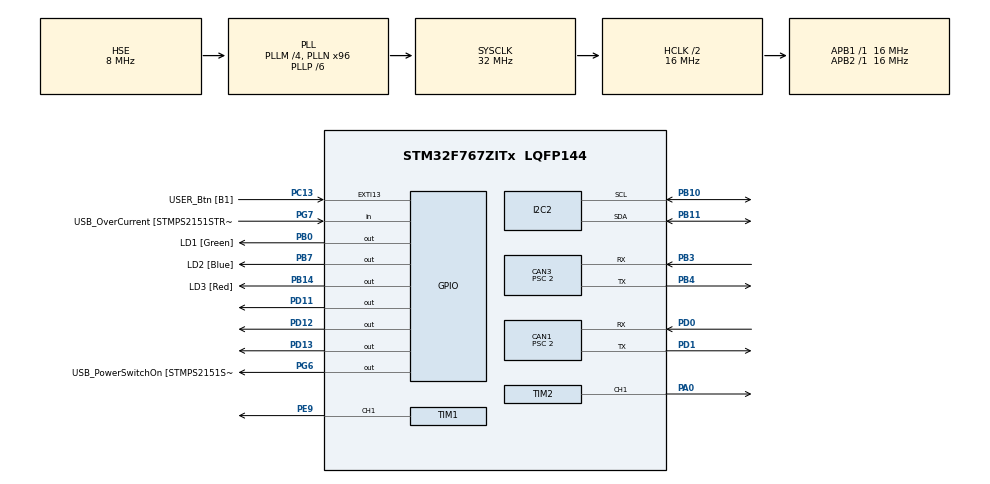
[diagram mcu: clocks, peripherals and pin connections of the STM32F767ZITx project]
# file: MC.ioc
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CAN1.BS1=CAN_BS1_13TQ
CAN1.BS2=CAN_BS2_2TQ
CAN1.CalculateBaudRate=500000
CAN1.CalculateTimeBit=2000
CAN1.CalculateTimeQuantum=125.0
CAN1.Prescaler=2
CAN3.BS1=CAN_BS1_13TQ
CAN3.BS2=CAN_BS2_2TQ
CAN3.CalculateBaudRate=500000
CAN3.CalculateTimeBit=2000
CAN3.CalculateTimeQuantum=125.0
CAN3.Prescaler=2
FREERTOS.Mutexes01=CommandMutex,Static,myMutex01ControlBlock
FREERTOS.Tasks01=defaultTask,24,128,StartDefaultTask,Default,NULL,Dynamic,NULL,NULL
Mcu.Family=STM32F7
Mcu.Name=STM32F767ZITx
Mcu.Package=LQFP144
NVIC.CAN1_RX0_IRQn=true\:5\:0\:false\:false\:true\:true\:true\:true\:true
NVIC.PriorityGroup=NVIC_PRIORITYGROUP_4
NVIC.TIM3_IRQn=true\:15\:0\:false\:false\:true\:false\:false\:true\:true
NVIC.TimeBase=TIM3_IRQn
NVIC.TimeBaseIP=TIM3
PA0/WKUP.Signal=S_TIM2_CH1_ETR
PA1.GPIO_Label=RMII_REF_CLK [LAN8742A-CZ-TR_REFCLK0]
PA1.Signal=ETH_REF_CLK
PA10.GPIO_Label=USB_ID
PA10.Signal=USB_OTG_FS_ID
PA11.GPIO_Label=USB_DM
PA11.Signal=USB_OTG_FS_DM
PA12.GPIO_Label=USB_DP
PA12.Signal=USB_OTG_FS_DP
PA13.GPIO_Label=TMS
PA13.Mode=Serial_Wire
PA13.Signal=SYS_JTMS-SWDIO
PA14.GPIO_Label=TCK
PA14.Mode=Serial_Wire
PA14.Signal=SYS_JTCK-SWCLK
PA2.GPIO_Label=RMII_MDIO [LAN8742A-CZ-TR_MDIO]
PA2.Signal=ETH_MDIO
PA7.GPIO_Label=RMII_CRS_DV [LAN8742A-CZ-TR_CRS_DV]
PA7.Signal=ETH_CRS_DV
PA8.GPIO_Label=USB_SOF [TP1]
PA8.Signal=USB_OTG_FS_SOF
PA9.GPIO_Label=USB_VBUS
PA9.Signal=USB_OTG_FS_VBUS
PB0.GPIO_Label=LD1 [Green]
PB0.Signal=GPIO_Output
PB10.Mode=I2C
PB10.Signal=I2C2_SCL
PB11.Mode=I2C
PB11.Signal=I2C2_SDA
PB13.GPIO_Label=RMII_TXD1 [LAN8742A-CZ-TR_TXD1]
PB13.Signal=ETH_TXD1
PB14.GPIO_Label=LD3 [Red]
PB14.Signal=GPIO_Output
PB3.Mode=CAN_Activate
PB3.Signal=CAN3_RX
PB4.Mode=CAN_Activate
PB4.Signal=CAN3_TX
PB7.GPIO_Label=LD2 [Blue]
PB7.Signal=GPIO_Output
PC1.GPIO_Label=RMII_MDC [LAN8742A-CZ-TR_MDC]
PC1.Signal=ETH_MDC
PC13.GPIO_Label=USER_Btn [B1]
PC13.Signal=GPXTI13
PC14/OSC32_IN.Mode=LSE-External-Oscillator
PC14/OSC32_IN.Signal=RCC_OSC32_IN
PC15/OSC32_OUT.Mode=LSE-External-Oscillator
PC15/OSC32_OUT.Signal=RCC_OSC32_OUT
PC4.GPIO_Label=RMII_RXD0 [LAN8742A-CZ-TR_RXD0]
PC4.Signal=ETH_RXD0
PC5.GPIO_Label=RMII_RXD1 [LAN8742A-CZ-TR_RXD1]
PC5.Signal=ETH_RXD1
PD0.Mode=CAN_Activate
PD0.Signal=CAN1_RX
PD1.Mode=CAN_Activate
PD1.Signal=CAN1_TX
PD11.Signal=GPIO_Output
PD12.Signal=GPIO_Output
PD13.Signal=GPIO_Output
PD8.GPIO_Label=STLK_RX [STM32F103CBT6_PA3]
PD8.Signal=USART3_TX
PD9.GPIO_Label=STLK_TX [STM32F103CBT6_PA2]
PD9.Signal=USART3_RX
PE9.Signal=S_TIM1_CH1
PG11.GPIO_Label=RMII_TX_EN [LAN8742A-CZ-TR_TXEN]
PG11.Signal=ETH_TX_EN
PG13.GPIO_Label=RMII_TXD0 [LAN8742A-CZ-TR_TXD0]
PG13.Signal=ETH_TXD0
PG6.GPIO_Label=USB_PowerSwitchOn [STMPS2151STR_EN]
PG6.Signal=GPIO_Output
PG7.GPIO_Label=USB_OverCurrent [STMPS2151STR_FAULT]
PG7.Signal=GPIO_Input
PH0/OSC_IN.GPIO_Label=MCO [STM32F103CBT6_PA8]
PH0/OSC_IN.Mode=HSE-External-Clock-Source
PH0/OSC_IN.Signal=RCC_OSC_IN
PH1/OSC_OUT.Mode=HSE-External-Clock-Source
PH1/OSC_OUT.Signal=RCC_OSC_OUT
ProjectManager.HeapSize=0x200
ProjectManager.StackSize=0x400
ProjectManager.TargetToolchain=STM32CubeIDE
RCC.48MHZClocksFreq_Value=24000000
RCC.AHBCLKDivider=RCC_SYSCLK_DIV2
RCC.AHBFreq_Value=16000000
RCC.APB1Freq_Value=16000000
RCC.APB1TimFreq_Value=16000000
RCC.APB2Freq_Value=16000000
RCC.APB2TimFreq_Value=16000000
RCC.CortexFreq_Value=16000000
RCC.HCLKFreq_Value=16000000
RCC.HSE_VALUE=8000000
RCC.HSI_VALUE=16000000
RCC.PLLM=4
RCC.PLLMUL=RCC_PLL_MUL9
RCC.PLLN=96
RCC.PLLP=RCC_PLLP_DIV6
RCC.PLLQ=4
RCC.PLLSourceVirtual=RCC_PLLSOURCE_HSE
RCC.PRESCALERUSB=RCC_USBCLKSOURCE_PLL_DIV1_5
RCC.SYSCLKFreq_VALUE=32000000
RCC.SYSCLKSource=RCC_SYSCLKSOURCE_PLLCLK
RCC.SYSCLKSourceVirtual=RCC_SYSCLKSOURCE_PLLCLK
RCC.USBFreq_Value=48000000
RCC.VCOOutputFreq_Value=192000000
SH.S_TIM1_CH1.0=TIM1_CH1,PWM Generation1 CH1
SH.S_TIM2_CH1_ETR.0=TIM2_CH1,PWM Generation1 CH1
TIM1.AutoReloadPreload=TIM_AUTORELOAD_PRELOAD_ENABLE
TIM1.Channel-PWM\ Generation1\ CH1=TIM_CHANNEL_1
TIM1.Period=1600-1
TIM1.Pulse-PWM\ Generation1\ CH1=800
TIM1.TIM_MasterOutputTrigger=TIM_TRGO_OC2REF
TIM2.AutoReloadPreload=TIM_AUTORELOAD_PRELOAD_ENABLE
TIM2.Channel-PWM\ Generation1\ CH1=TIM_CHANNEL_1
TIM2.Period=1600-1
TIM2.Pulse-PWM\ Generation1\ CH1=800
VP_FREERTOS_VS_CMSIS_V2.Mode=CMSIS_V2
VP_SYS_VS_tim3.Mode=TIM3
VP_TIM1_VS_ClockSourceINT.Mode=Internal
VP_TIM2_VS_ClockSourceINT.Mode=Internal
board=NUCLEO-F767ZI

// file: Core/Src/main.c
/* USER CODE BEGIN Header */
/**
  ******************************************************************************
  * @file           : main.c
  * @brief          : Main program body
  ******************************************************************************
  * @attention
  *
  * Copyright (c) 2024 STMicroelectronics.
  * All rights reserved.
  *
  * This software is licensed under terms that can be found in the LICENSE file
  * in the root directory of this software component.
  * If no LICENSE file comes with this software, it is provided AS-IS.
  *
  ******************************************************************************
  */
/* USER CODE END Header */
#include "main.h"
#include "cmsis_os.h"
#include "can.h"
#include "i2c.h"
#include "tim.h"
#include "gpio.h"

void SystemClock_Config(void);
void MX_FREERTOS_Init(void);

int main(void)
{

  /* MCU Configuration--------------------------------------------------------*/

  /* Reset of all peripherals, Initializes the Flash interface and the Systick. */
  HAL_Init();

  /* Configure the system clock */
  SystemClock_Config();

  /* Initialize all configured peripherals */
  MX_GPIO_Init();
  MX_I2C2_Init();
  MX_CAN3_Init();
  MX_CAN1_Init();
  MX_TIM1_Init();
  MX_TIM2_Init();
  /* USER CODE BEGIN 2 */
  HAL_CAN_Start(&hcan1);
  HAL_CAN_ActivateNotification(&hcan1, CAN_IT_RX_FIFO0_MSG_PENDING);
  HAL_TIM_PWM_Start(&htim1, TIM_CHANNEL_1);
  HAL_TIM_PWM_Start(&htim2, TIM_CHANNEL_1);
  /* USER CODE END 2 */

  /* Init scheduler */
  osKernelInitialize();

  /* Call init function for freertos objects (in cmsis_os2.c) */
  MX_FREERTOS_Init();

  /* Start scheduler */
  osKernelStart();

  /* We should never get here as control is now taken by the scheduler */

  /* Infinite loop */
  while (1)
  {

  }
}

void SystemClock_Config(void)
{
  RCC_OscInitTypeDef RCC_OscInitStruct = {0};
  RCC_ClkInitTypeDef RCC_ClkInitStruct = {0};

  /** Configure LSE Drive Capability
  */
  HAL_PWR_EnableBkUpAccess();

  /** Configure the main internal regulator output voltage
  */
  __HAL_RCC_PWR_CLK_ENABLE();
  __HAL_PWR_VOLTAGESCALING_CONFIG(PWR_REGULATOR_VOLTAGE_SCALE3);

  /** Initializes the RCC Oscillators according to the specified parameters
  * in the RCC_OscInitTypeDef structure.
  */
  RCC_OscInitStruct.OscillatorType = RCC_OSCILLATORTYPE_HSE;
  RCC_OscInitStruct.HSEState = RCC_HSE_BYPASS;
  RCC_OscInitStruct.PLL.PLLState = RCC_PLL_ON;
  RCC_OscInitStruct.PLL.PLLSource = RCC_PLLSOURCE_HSE;
  RCC_OscInitStruct.PLL.PLLM = 4;
  RCC_OscInitStruct.PLL.PLLN = 96;
  RCC_OscInitStruct.PLL.PLLP = RCC_PLLP_DIV6;
  RCC_OscInitStruct.PLL.PLLQ = 4;
  RCC_OscInitStruct.PLL.PLLR = 2;
  if (HAL_RCC_OscConfig(&RCC_OscInitStruct) != HAL_OK)
  {
    Error_Handler();
  }

  /** Initializes the CPU, AHB and APB buses clocks
  */
  RCC_ClkInitStruct.ClockType = RCC_CLOCKTYPE_HCLK|RCC_CLOCKTYPE_SYSCLK
                              |RCC_CLOCKTYPE_PCLK1|RCC_CLOCKTYPE_PCLK2;
  RCC_ClkInitStruct.SYSCLKSource = RCC_SYSCLKSOURCE_PLLCLK;
  RCC_ClkInitStruct.AHBCLKDivider = RCC_SYSCLK_DIV2;
  RCC_ClkInitStruct.APB1CLKDivider = RCC_HCLK_DIV1;
  RCC_ClkInitStruct.APB2CLKDivider = RCC_HCLK_DIV1;

  if (HAL_RCC_ClockConfig(&RCC_ClkInitStruct, FLASH_LATENCY_0) != HAL_OK)
  {
    Error_Handler();
  }
}

void HAL_TIM_PeriodElapsedCallback(TIM_HandleTypeDef *htim)
{
  if (htim->Instance == TIM3) {
    HAL_IncTick();
  }
}

void Error_Handler(void)
{
  __disable_irq();
  while (1)
  {
  }
}

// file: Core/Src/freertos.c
/* USER CODE BEGIN Header */
/**
  ******************************************************************************
  * File Name          : freertos.c
  * Description        : Code for freertos applications
  ******************************************************************************
  * @attention
  *
  * Copyright (c) 2024 STMicroelectronics.
  * All rights reserved.
  *
  * This software is licensed under terms that can be found in the LICENSE file
  * in the root directory of this software component.
  * If no LICENSE file comes with this software, it is provided AS-IS.
  *
  ******************************************************************************
  */
/* USER CODE END Header */

#include "FreeRTOS.h"
#include "task.h"
#include "main.h"
#include "cmsis_os.h"

/* USER CODE BEGIN Includes */
#include "tim.h"
#include "can.h"
#include "can_driver.h"
#include "DAC.h"
#include "config.h"
/* USER CODE END Includes */

typedef StaticSemaphore_t osStaticMutexDef_t;
/* USER CODE BEGIN PTD */

typedef struct {
	CAN_HandleTypeDef* hcan;
	DAC_t throttle;
	uint32_t direction;
	uint32_t speed;
	uint32_t error_code;
	uint32_t voltage;
	uint32_t current;
	uint32_t motor_temp;
	uint32_t controller_temp;

} Motor_Controller_t;

typedef enum {
	NEUTRAL,
	FORWARD,
	REVERSE
} DrivingDirection;

typedef enum {
	MC_IDLE,
	MC_START,
	MC_STOP,
	MC_THROTTLE,
	MC_DIRECTION
} MC_Commands;

typedef struct {
	GPIO_TypeDef* port;
	uint16_t pin;
} GPIO_Pin_t;

typedef struct {
	MC_Commands command;
	DrivingDirection direction;
	uint32_t throttle;
} Parsed_Command_t;

/* USER CODE END PTD */

/* USER CODE BEGIN PD */

volatile Parsed_Command_t mc_command;
/* USER CODE END PD */

/* USER CODE BEGIN PM */

#define DEFAULT_THROTTLE 100

#define MAX_SEM_COUNT 1

/* USER CODE END PM */

/* USER CODE BEGIN Variables */
const GPIO_Pin_t FW = {.port = GPIOD, .pin = GPIO_PIN_11};
const GPIO_Pin_t REV = {.port = GPIOD, .pin = GPIO_PIN_12};
const GPIO_Pin_t BRK = {.port = GPIOD, .pin = GPIO_PIN_13};

/* TID and attribute definitions */

osThreadId_t MC_ReceiveCommandTaskHandle;
const osThreadAttr_t MC_ReceiveCommandTaskAttr = {
		.name = "MC_ReceiveCommandThread",
		.stack_size = 128 * 4,
		.priority = (osPriority_t)  osPriorityHigh1,
};

osThreadId_t MC_CommandControlTaskHandle;
const osThreadAttr_t MC_CommandControlTaskAttr = {
		.name = "MC_CommandControlThread",
		.stack_size = 128*4,
		.priority = (osPriority_t) osPriorityHigh,
};

/* Queue definitions for CAN frames */

/* Definitions for start and end CAN frame semaphores */
osSemaphoreId_t MCSemReceiveHandle;
const osSemaphoreAttr_t MCSemReceive_attributes = {
  .name = "MCSemReceive"
};

osSemaphoreId_t MCSemParsedHandle;
const osSemaphoreAttr_t MCSemParsed_attributes = {
  .name = "MCSemParsed"
};

/* USER CODE END Variables */
/* Definitions for defaultTask */
osThreadId_t defaultTaskHandle;
const osThreadAttr_t defaultTask_attributes = {
  .name = "defaultTask",
  .stack_size = 128 * 4,
  .priority = (osPriority_t) osPriorityNormal,
};
/* Definitions for CommandMutex */
osMutexId_t CommandMutexHandle;
osStaticMutexDef_t myMutex01ControlBlock;
const osMutexAttr_t CommandMutex_attributes = {
  .name = "CommandMutex",
  .cb_mem = &myMutex01ControlBlock,
  .cb_size = sizeof(myMutex01ControlBlock),
};

/* USER CODE BEGIN FunctionPrototypes */

/* Functions that process MC data */
DrivingDirection bits_to_direction(uint8_t data);
uint32_t error_code(uint16_t data);
uint32_t process_bits(uint16_t data);

/* Function prototypes for threads */
void MC_ReceiveCommandThread(void *argument);
void MC_CommandControlThread(void *argument);

/* Function prototypes for motor control*/
Motor_Controller_t MC_init(CAN_HandleTypeDef* can_handler, I2C_HandleTypeDef* i2c_handler);
void MC_stop(Motor_Controller_t* self);
void MC_drive(Motor_Controller_t* self);
void MC_change_direction(Motor_Controller_t* self);
void MC_set_throttle(Motor_Controller_t* self, float value);
void MC_get_data(Motor_Controller_t* self);
void MC_execute_command(CAN_Frame_t frame);

float get_voltage(float throttle);

/* USER CODE END FunctionPrototypes */

void StartDefaultTask(void *argument);

void MX_FREERTOS_Init(void); /* (MISRA C 2004 rule 8.1) */

void MX_FREERTOS_Init(void) {
  /* Create the mutex(es) */
  /* creation of CommandMutex */
  CommandMutexHandle = osMutexNew(&CommandMutex_attributes);

  /* USER CODE BEGIN RTOS_SEMAPHORES */

  MCSemReceiveHandle = osSemaphoreNew(1, 0, &MCSemReceive_attributes);
  MCSemParsedHandle = osSemaphoreNew(1, 0, &MCSemParsed_attributes);
  /* add semaphores, ... */
  /* USER CODE END RTOS_SEMAPHORES */

  /* Create the thread(s) */
  /* creation of defaultTask */
  defaultTaskHandle = osThreadNew(StartDefaultTask, NULL, &defaultTask_attributes);

  /* USER CODE BEGIN RTOS_THREADS */

  MC_ReceiveCommandTaskHandle = osThreadNew(MC_ReceiveCommandThread, NULL, &MC_ReceiveCommandTaskAttr);
  MC_CommandControlTaskHandle = osThreadNew(MC_CommandControlThread, NULL, &MC_CommandControlTaskAttr);

  /* add threads, ... */
  /* USER CODE END RTOS_THREADS */

}

void StartDefaultTask(void *argument)
{
  for(;;)
  {
    osDelay(1);
  }
}

/* USER CODE BEGIN Application */

void MC_ReceiveCommandThread(void *argument) {

	CAN_Frame_t command_frame = CAN_frame_init(&hcan1, MOTOR_CONTROLLER);
	for(;;){

		osSemaphoreAcquire(MCSemReceiveHandle, osWaitForever);
		command_frame = CAN_get_frame(&hcan1, CAN_RX_FIFO0);
		Parsed_Command_t received_command;

		switch(command_frame.data[0]){
			case MC_IDLE:
				received_command.command = MC_IDLE;
				received_command.direction = NEUTRAL;
				received_command.throttle = 0;
				break;

			case MC_START:
				received_command.command = MC_START;
				received_command.direction = FORWARD;
				received_command.throttle = command_frame.data[1];
				break;

			case MC_STOP:
				received_command.command = MC_STOP;
				received_command.direction = NEUTRAL;
				received_command.throttle = 0;
				break;

			case MC_THROTTLE:
				received_command.command = MC_THROTTLE;
				received_command.throttle = command_frame.data[1];
				break;

			case MC_DIRECTION:
				received_command.command = MC_DIRECTION;
				break;

			default:
				break;
		}

		osMutexAcquire(CommandMutexHandle, osWaitForever);
		mc_command = received_command;
		osMutexRelease(CommandMutexHandle);

		osSemaphoreRelease(MCSemParsedHandle);
	}
}

void MC_CommandControlThread(void *argument){
	Parsed_Command_t parsed_command;
	Motor_Controller_t kelly_mc =  MC_init(&hcan1, &hi2c2);; //Initialize motor controller with used CAN and I2C handles

	for(;;){

		osSemaphoreAcquire(MCSemParsedHandle, osWaitForever);

		osMutexAcquire(CommandMutexHandle, osWaitForever);
		parsed_command = mc_command;
		osMutexRelease(CommandMutexHandle);

		switch(parsed_command.command){
			case MC_IDLE:
				break;

			case MC_START:
				kelly_mc.direction = parsed_command.direction;
				kelly_mc.throttle.throttle = parsed_command.throttle;
				kelly_mc.speed = parsed_command.throttle;
				MC_drive(&kelly_mc);
				break;

			case MC_STOP:
				kelly_mc.direction = parsed_command.direction;
				kelly_mc.throttle.throttle = parsed_command.throttle;
				MC_stop(&kelly_mc);
				break;

			case MC_THROTTLE:
				kelly_mc.direction = parsed_command.direction;
				kelly_mc.throttle.throttle = parsed_command.throttle;
				kelly_mc.speed = parsed_command.throttle;
				MC_set_throttle(&kelly_mc, (float)parsed_command.throttle);
				break;

			case MC_DIRECTION:
				kelly_mc.direction = parsed_command.direction;
				MC_change_direction(&kelly_mc);
				break;

			default:
				break;
		}
	}
}

DrivingDirection bits_to_direction(uint8_t data){

	//Process direction data from MC according to data sheet

	uint8_t data_check = (data & 0b00000011);

	if(data_check == 0b00){
		return NEUTRAL;
	}
	else if(data_check == 0b01){
		return FORWARD;
	}
	else if(data_check == 0b10){
		return REVERSE;
	}

	return NEUTRAL;
}

uint32_t error_code(uint16_t data){
	return 0;
}

uint32_t process_bits(uint16_t data){
	//Processes data from MC according to data sheet (e.g 0.1 C / bit)
	return data/10;
}

Motor_Controller_t MC_init(CAN_HandleTypeDef* handler, I2C_HandleTypeDef* i2c_handler) {

	//Initializes Motor_Controller_t struct with base values and proper CAN and I2C handles
	Motor_Controller_t ret = {
		.hcan = handler,
		.direction = 0,
		.speed = 0,
		.error_code = 0,
		.voltage = 0,
		.current = 0,
		.motor_temp = 0,
		.controller_temp = 0,
		.throttle = DAC_init(i2c_handler)
	};

	return ret;
}

void MC_set_motor_speed(uint32_t freq, uint8_t direction){

    uint32_t timer_clock = 16000000; // 16 MHz timer clock
    uint32_t prescaler = 0; // assuming prescaler 0 for max resolution

    uint32_t arr = (timer_clock / ((prescaler + 1) * freq)) - 1;
    uint32_t pulse = (arr + 1)/2;
    uint32_t phase_offset = pulse/2;

    __HAL_TIM_DISABLE(&htim1);    // Stop timer
    __HAL_TIM_DISABLE(&htim2);    // Stop timer
    __HAL_TIM_SET_AUTORELOAD(&htim1, arr);  // Update ARR
    __HAL_TIM_SET_AUTORELOAD(&htim2, arr);  // Update ARR
    __HAL_TIM_SET_COMPARE(&htim1, TIM_CHANNEL_1, pulse);
    __HAL_TIM_SET_COMPARE(&htim2, TIM_CHANNEL_1, pulse);

    if(direction == 1){
        __HAL_TIM_SET_COUNTER(&htim2, 3 * phase_offset); //Start at 270 degrees = lead timer1 by 90 degrees
    }
    else if(direction == 0){
    	__HAL_TIM_SET_COUNTER(&htim2, phase_offset); //Start at 90 degrees = lags timer1 by 90 degrees
    }

    __HAL_TIM_ENABLE(&htim1);     // Restart timer
    __HAL_TIM_ENABLE(&htim2);     // Restart timer
}

void MC_stop(Motor_Controller_t* self) {
	HAL_GPIO_WritePin(BRK.port, BRK.pin, GPIO_PIN_SET); //Sets brake pin
	HAL_GPIO_WritePin(REV.port, REV.pin, GPIO_PIN_RESET); //Resets reverse pin
	HAL_GPIO_WritePin(FW.port, FW.pin, GPIO_PIN_RESET); //Resets forward pin

	uint32_t step_delay = 50; // 50ms steps
	uint32_t total_steps = 1000 / step_delay;

	for (uint32_t step = 0; step < total_steps; step++) {
	   float progress = (float)step / (float)total_steps;
	   float new_speed = self->speed * (1.0f - progress);

	   MC_set_motor_speed((new_speed/100) * 10000, self->direction);
	   osDelay(pdMS_TO_TICKS(step_delay));
	}
}

void MC_drive(Motor_Controller_t* self) {
	HAL_GPIO_WritePin(BRK.port, BRK.pin, GPIO_PIN_RESET); //Resets brake pin (0)
	HAL_GPIO_WritePin(REV.port, REV.pin, GPIO_PIN_RESET); //Resets reverse pin
	HAL_GPIO_WritePin(FW.port, FW.pin, GPIO_PIN_SET); //Sets forward pin
    MC_set_motor_speed((self->speed/100) * 10000, 1); //10 khz frequency and forward

	//DAC_write(&self -> throttle, get_voltage(self->throttle.throttle)); //Sets throttle to default (100%)
}

void MC_change_direction(Motor_Controller_t* self) {
	if (HAL_GPIO_ReadPin(FW.port, FW.pin)) { //Sets direction to reverse if direction is forward
		HAL_GPIO_WritePin(FW.port, FW.pin, GPIO_PIN_RESET);
		HAL_GPIO_WritePin(REV.port, REV.pin, GPIO_PIN_SET);
		MC_set_motor_speed((self->speed/100) * 10000, 0); //keep same speed, change direction to reverse
	} else if(HAL_GPIO_ReadPin(REV.port, REV.pin)) { //Sets direction to forward if direction is reverse
		HAL_GPIO_WritePin(REV.port, REV.pin, GPIO_PIN_RESET);
		HAL_GPIO_WritePin(FW.port, FW.pin, GPIO_PIN_SET);
		MC_set_motor_speed((self->speed/100) * 10000, 1);
	}
}

void MC_set_throttle(Motor_Controller_t* self, float value) {
	 MC_set_motor_speed((value/100) * 10000, self->direction);
}

float get_voltage(float throttle) {
  return throttle / 20.0;
}

void HAL_CAN_RxFifo0MsgPendingCallback(CAN_HandleTypeDef *hcan)
{
	if(hcan->Instance == CAN1){
		osSemaphoreRelease(MCSemReceiveHandle);
	}
}

/* USER CODE END Application */
